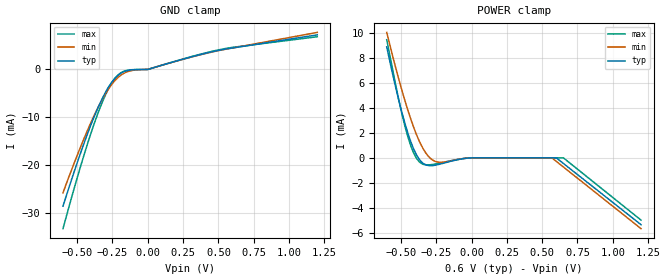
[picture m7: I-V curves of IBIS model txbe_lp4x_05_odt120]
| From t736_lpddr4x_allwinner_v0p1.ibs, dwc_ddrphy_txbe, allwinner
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[Model] txbe_lp4x_05_odt120
Model_type   Input
Polarity   Non-Inverting
Enable   Active-High
C_comp   940.125fF   933.508fF   953.332fF
C_comp_pullup   279.409fF   274.982fF   280.817fF
C_comp_pulldown 523.003fF   518.885fF   540.114fF
Vinh = 360.000mV
Vinl = 307.000mV
[Model Spec]
D_overshoot_ampl_h 0.1 NA   NA
D_overshoot_ampl_l 0.1 NA   NA
D_overshoot_area_l 300.000m NA   NA
D_overshoot_area_h 300.000m NA   NA
[Receiver Thresholds]
Vth = 163.000mV
Vth_min = 143.000mV
Vth_max = 150.000mV
Vinh_ac = 60.000mV
Vinh_dc = 60.000mV
Vinl_ac = -60.000mV
Vinl_dc = -60.000mV
Tslew_ac = 5.000ns
Threshold_sensitivity = 0.5
Reference_supply Power_clamp_ref
[Temperature Range]   25.000   125.000   -40.000
[Voltage Range]   600.000mV   570.000mV   650.000mV
[GND Clamp Reference]   0.00V   0.00V   0.00V
[C Comp Corner]
| variable   typ   min   max
C_comp 940.125fF   953.332fF   933.508fF
C_comp_pullup 279.409fF   280.817fF   274.982fF
C_comp_pulldown 523.003fF   540.114fF   518.885fF
[POWER Clamp Reference]   600.000mV   570.000mV   650.000mV
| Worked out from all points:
|   GND clamp passes 1 mA (typ) near -0.20 V on its own axis
|   POWER clamp passes 1 mA (typ) near -0.42 V on its own axis
[GND Clamp]
-600mV    -28.61mA   -25.82mA   -33.33mA
-470mV    -17.02mA   -15.81mA   -19.75mA
-410mV    -12.19mA   -11.61mA   -14.05mA
-350mV    -7.864mA   -7.832mA   -8.965mA
-300mV    -4.825mA   -5.126mA   -5.377mA
-260mV    -2.878mA   -3.333mA   -3.087mA
-230mV    -1.762mA   -2.248mA   -1.793mA
-190mV    -772.4uA   -1.185mA   -686.3uA
-110mV    -87.5uA    -208.7uA   -51.95uA
0V        0A         0A         0A
550mV     4.265mA    4.227mA    4.385mA
1.2V      7.242mA    7.758mA    6.843mA
[Power Clamp]
-600mV    8.888mA    10.05mA    9.462mA
-520mV    4.854mA    6.52mA     4.918mA
-470mV    2.705mA    4.532mA    2.479mA
-410mV    718.2uA    2.464mA    396uA
-360mV    -262.8uA   1.105mA    -414uA
-300mV    -622.7uA   53uA       -565uA
-230mV    -526.4uA   -359.2uA   -433uA
-10mV     -6.8uA     -5.4uA     -6uA
570mV     -1.516uA   -12.82uA   -267nA
600mV     -1.612uA   -282.4uA   -284.6nA
650mV     -447.9uA   -731.7uA   -314.2nA
1.2V      -5.357mA   -5.674mA   -4.989mA
